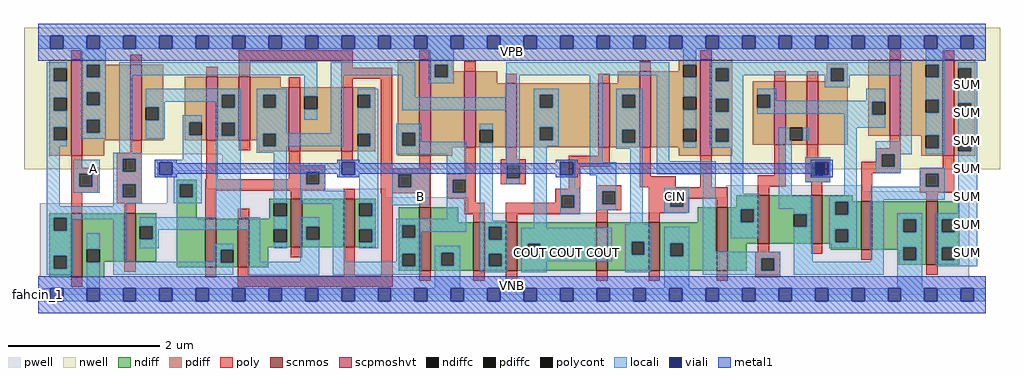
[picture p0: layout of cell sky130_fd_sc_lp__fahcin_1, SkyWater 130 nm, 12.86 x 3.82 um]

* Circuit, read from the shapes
.subckt sky130_fd_sc_lp__fahcin_1 A B CIN VGND VNB VPB VPWR COUT SUM
XM1 VGND A n1 VNB sky130_fd_pr__nfet_01v8 w=0.84 l=0.15
XM2 n2 n1 VGND VNB sky130_fd_pr__nfet_01v8 w=0.64 l=0.15
XM3 n1 n3 n4 VNB sky130_fd_pr__nfet_01v8 w=0.64 l=0.15
XM4 n5 B n1 VNB sky130_fd_pr__nfet_01v8 w=0.64 l=0.15
XM5 n2 n3 n5 VNB sky130_fd_pr__nfet_01v8 w=0.64 l=0.15
XM6 n4 B n2 VNB sky130_fd_pr__nfet_01v8 w=0.64 l=0.15
XM7 VGND B n3 VNB sky130_fd_pr__nfet_01v8 w=0.84 l=0.15
XM8 n6 n3 VGND VNB sky130_fd_pr__nfet_01v8 w=0.64 l=0.15
XM9 COUT n4 n6 VNB sky130_fd_pr__nfet_01v8 w=0.64 l=0.15
XM10 n7 n5 COUT VNB sky130_fd_pr__nfet_01v8 w=0.64 l=0.15
XM11 VGND CIN n7 VNB sky130_fd_pr__nfet_01v8 w=0.64 l=0.15
XM12 n8 CIN VGND VNB sky130_fd_pr__nfet_01v8 w=0.84 l=0.15
XM13 n9 n5 n8 VNB sky130_fd_pr__nfet_01v8 w=0.64 l=0.15
XM14 n10 n4 n9 VNB sky130_fd_pr__nfet_01v8 w=0.64 l=0.15
XM15 VGND n8 n10 VNB sky130_fd_pr__nfet_01v8 w=0.64 l=0.15
XM16 SUM n9 VGND VNB sky130_fd_pr__nfet_01v8 w=0.84 l=0.15
XM17 VPWR A n1 VPB sky130_fd_pr__pfet_01v8_hvt w=1.26 l=0.15
XM18 n2 n1 VPWR VPB sky130_fd_pr__pfet_01v8_hvt w=1 l=0.15
XM19 n2 n3 n4 VPB sky130_fd_pr__pfet_01v8_hvt w=0.84 l=0.15
XM20 n5 B n2 VPB sky130_fd_pr__pfet_01v8_hvt w=0.84 l=0.15
XM21 n1 n3 n5 VPB sky130_fd_pr__pfet_01v8_hvt w=0.84 l=0.15
XM22 n4 B n1 VPB sky130_fd_pr__pfet_01v8_hvt w=0.84 l=0.15
XM23 VPWR B n3 VPB sky130_fd_pr__pfet_01v8_hvt w=1.26 l=0.15
XM24 n6 n3 VPWR VPB sky130_fd_pr__pfet_01v8_hvt w=1 l=0.15
XM25 COUT n5 n6 VPB sky130_fd_pr__pfet_01v8_hvt w=0.84 l=0.15
XM26 n7 n4 COUT VPB sky130_fd_pr__pfet_01v8_hvt w=0.84 l=0.15
XM27 VPWR CIN n7 VPB sky130_fd_pr__pfet_01v8_hvt w=1 l=0.15
XM28 n8 CIN VPWR VPB sky130_fd_pr__pfet_01v8_hvt w=1.26 l=0.15
XM29 n9 n5 n10 VPB sky130_fd_pr__pfet_01v8_hvt w=0.84 l=0.15
XM30 n8 n4 n9 VPB sky130_fd_pr__pfet_01v8_hvt w=0.84 l=0.15
XM31 VPWR n8 n10 VPB sky130_fd_pr__pfet_01v8_hvt w=1 l=0.15
XM32 SUM n9 VPWR VPB sky130_fd_pr__pfet_01v8_hvt w=1.26 l=0.15
.ends

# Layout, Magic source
magic
tech sky130A
magscale 1 2
<< nwell >>
rect -38 371 2534 704
rect -38 331 231 371
rect 485 331 2534 371
<< pwell >>
rect 338 279 443 329
rect 338 257 915 279
rect 1813 273 2172 289
rect 1813 257 2453 273
rect 338 241 1133 257
rect 3 217 1133 241
rect 1711 217 2453 257
rect 3 49 2453 217
rect 0 0 2496 49
<< scnmos >>
rect 86 47 116 215
rect 226 87 256 215
rect 439 73 469 201
rect 525 73 555 201
rect 665 125 695 253
rect 804 125 834 253
rect 1004 63 1034 231
rect 1146 63 1176 191
rect 1232 63 1262 191
rect 1470 63 1500 191
rect 1608 63 1638 191
rect 1787 63 1817 231
rect 1896 135 1926 263
rect 2036 135 2066 263
rect 2168 119 2198 247
rect 2340 79 2370 247
<< scpmoshvt >>
rect 86 367 116 619
rect 242 407 272 607
rect 442 407 472 575
rect 528 407 558 575
rect 660 379 690 547
rect 798 379 828 547
rect 1004 367 1034 619
rect 1122 389 1152 589
rect 1231 389 1261 557
rect 1475 389 1505 557
rect 1584 389 1614 589
rect 1744 367 1774 619
rect 1939 395 1969 563
rect 2025 395 2055 563
rect 2243 419 2273 619
rect 2383 367 2413 619
<< ndiff >>
rect 364 291 417 303
rect 364 257 373 291
rect 407 257 417 291
rect 29 203 86 215
rect 29 169 41 203
rect 75 169 86 203
rect 29 103 86 169
rect 29 69 41 103
rect 75 69 86 103
rect 29 47 86 69
rect 116 120 226 215
rect 116 86 127 120
rect 161 87 226 120
rect 256 181 310 215
rect 256 147 267 181
rect 301 147 310 181
rect 256 87 310 147
rect 364 201 417 257
rect 608 241 665 253
rect 608 207 620 241
rect 654 207 665 241
rect 608 201 665 207
rect 161 86 173 87
rect 116 47 173 86
rect 364 73 439 201
rect 469 119 525 201
rect 469 85 480 119
rect 514 85 525 119
rect 469 73 525 85
rect 555 173 665 201
rect 555 139 620 173
rect 654 139 665 173
rect 555 125 665 139
rect 695 179 804 253
rect 695 145 706 179
rect 740 145 804 179
rect 695 125 804 145
rect 834 241 889 253
rect 834 207 846 241
rect 880 207 889 241
rect 834 173 889 207
rect 834 139 846 173
rect 880 139 889 173
rect 834 125 889 139
rect 555 73 605 125
rect 949 184 1004 231
rect 949 150 959 184
rect 993 150 1004 184
rect 949 109 1004 150
rect 949 75 959 109
rect 993 75 1004 109
rect 949 63 1004 75
rect 1034 191 1107 231
rect 1839 231 1896 263
rect 1737 191 1787 231
rect 1034 111 1146 191
rect 1034 77 1061 111
rect 1095 77 1146 111
rect 1034 63 1146 77
rect 1176 179 1232 191
rect 1176 145 1187 179
rect 1221 145 1232 179
rect 1176 109 1232 145
rect 1176 75 1187 109
rect 1221 75 1232 109
rect 1176 63 1232 75
rect 1262 135 1470 191
rect 1262 101 1289 135
rect 1323 101 1470 135
rect 1262 63 1470 101
rect 1500 140 1608 191
rect 1500 106 1563 140
rect 1597 106 1608 140
rect 1500 63 1608 106
rect 1638 136 1787 191
rect 1638 102 1665 136
rect 1699 102 1787 136
rect 1638 63 1787 102
rect 1817 225 1896 231
rect 1817 191 1851 225
rect 1885 191 1896 225
rect 1817 135 1896 191
rect 1926 213 2036 263
rect 1926 179 1991 213
rect 2025 179 2036 213
rect 1926 135 2036 179
rect 2066 247 2146 263
rect 2066 245 2168 247
rect 2066 211 2100 245
rect 2134 211 2168 245
rect 2066 173 2168 211
rect 2066 139 2100 173
rect 2134 139 2168 173
rect 2066 135 2168 139
rect 1817 63 1867 135
rect 2088 119 2168 135
rect 2198 199 2340 247
rect 2198 165 2279 199
rect 2313 165 2340 199
rect 2198 125 2340 165
rect 2198 119 2279 125
rect 2267 91 2279 119
rect 2313 91 2340 125
rect 2267 79 2340 91
rect 2370 199 2427 247
rect 2370 165 2381 199
rect 2415 165 2427 199
rect 2370 125 2427 165
rect 2370 91 2381 125
rect 2415 91 2427 125
rect 2370 79 2427 91
<< pdiff >>
rect 29 597 86 619
rect 29 563 41 597
rect 75 563 86 597
rect 29 519 86 563
rect 29 485 41 519
rect 75 485 86 519
rect 29 442 86 485
rect 29 408 41 442
rect 75 408 86 442
rect 29 367 86 408
rect 116 607 173 619
rect 116 573 127 607
rect 161 573 242 607
rect 116 534 242 573
rect 116 500 127 534
rect 161 500 242 534
rect 116 461 242 500
rect 116 427 127 461
rect 161 427 242 461
rect 116 407 242 427
rect 272 494 329 607
rect 272 460 283 494
rect 317 460 329 494
rect 272 407 329 460
rect 385 455 442 575
rect 385 421 397 455
rect 431 421 442 455
rect 385 407 442 421
rect 472 527 528 575
rect 472 493 483 527
rect 517 493 528 527
rect 472 453 528 493
rect 472 419 483 453
rect 517 419 528 453
rect 472 407 528 419
rect 558 547 638 575
rect 558 527 660 547
rect 558 493 592 527
rect 626 493 660 527
rect 558 425 660 493
rect 558 407 592 425
rect 116 367 173 407
rect 580 391 592 407
rect 626 391 660 425
rect 580 379 660 391
rect 690 523 798 547
rect 690 489 701 523
rect 735 489 798 523
rect 690 379 798 489
rect 828 527 887 547
rect 828 493 841 527
rect 875 493 887 527
rect 828 425 887 493
rect 828 391 841 425
rect 875 391 887 425
rect 828 379 887 391
rect 947 427 1004 619
rect 947 393 959 427
rect 993 393 1004 427
rect 947 367 1004 393
rect 1034 607 1091 619
rect 1034 573 1045 607
rect 1079 589 1091 607
rect 1687 607 1744 619
rect 1687 589 1699 607
rect 1079 573 1122 589
rect 1034 389 1122 573
rect 1152 557 1209 589
rect 1527 557 1584 589
rect 1152 435 1231 557
rect 1152 401 1163 435
rect 1197 401 1231 435
rect 1152 389 1231 401
rect 1261 527 1475 557
rect 1261 493 1321 527
rect 1355 493 1475 527
rect 1261 442 1475 493
rect 1261 408 1321 442
rect 1355 408 1475 442
rect 1261 389 1475 408
rect 1505 527 1584 557
rect 1505 493 1539 527
rect 1573 493 1584 527
rect 1505 435 1584 493
rect 1505 401 1539 435
rect 1573 401 1584 435
rect 1505 389 1584 401
rect 1614 573 1699 589
rect 1733 573 1744 607
rect 1614 522 1744 573
rect 1614 488 1699 522
rect 1733 488 1744 522
rect 1614 438 1744 488
rect 1614 404 1699 438
rect 1733 404 1744 438
rect 1614 389 1744 404
rect 1034 367 1091 389
rect 1687 367 1744 389
rect 1774 597 1829 619
rect 1774 563 1785 597
rect 1819 563 1829 597
rect 2077 597 2133 609
rect 2077 563 2088 597
rect 2122 563 2133 597
rect 1774 517 1829 563
rect 1774 483 1785 517
rect 1819 483 1829 517
rect 1774 438 1829 483
rect 1774 404 1785 438
rect 1819 404 1829 438
rect 1774 367 1829 404
rect 1883 527 1939 563
rect 1883 493 1894 527
rect 1928 493 1939 527
rect 1883 395 1939 493
rect 1969 441 2025 563
rect 1969 407 1980 441
rect 2014 407 2025 441
rect 1969 395 2025 407
rect 2055 395 2133 563
rect 2187 509 2243 619
rect 2187 475 2198 509
rect 2232 475 2243 509
rect 2187 419 2243 475
rect 2273 607 2383 619
rect 2273 573 2338 607
rect 2372 573 2383 607
rect 2273 514 2383 573
rect 2273 480 2338 514
rect 2372 480 2383 514
rect 2273 421 2383 480
rect 2273 419 2338 421
rect 2326 387 2338 419
rect 2372 387 2383 421
rect 2326 367 2383 387
rect 2413 597 2469 619
rect 2413 563 2424 597
rect 2458 563 2469 597
rect 2413 505 2469 563
rect 2413 471 2424 505
rect 2458 471 2469 505
rect 2413 413 2469 471
rect 2413 379 2424 413
rect 2458 379 2469 413
rect 2413 367 2469 379
<< ndiffc >>
rect 373 257 407 291
rect 41 169 75 203
rect 41 69 75 103
rect 127 86 161 120
rect 267 147 301 181
rect 620 207 654 241
rect 480 85 514 119
rect 620 139 654 173
rect 706 145 740 179
rect 846 207 880 241
rect 846 139 880 173
rect 959 150 993 184
rect 959 75 993 109
rect 1061 77 1095 111
rect 1187 145 1221 179
rect 1187 75 1221 109
rect 1289 101 1323 135
rect 1563 106 1597 140
rect 1665 102 1699 136
rect 1851 191 1885 225
rect 1991 179 2025 213
rect 2100 211 2134 245
rect 2100 139 2134 173
rect 2279 165 2313 199
rect 2279 91 2313 125
rect 2381 165 2415 199
rect 2381 91 2415 125
<< pdiffc >>
rect 41 563 75 597
rect 41 485 75 519
rect 41 408 75 442
rect 127 573 161 607
rect 127 500 161 534
rect 127 427 161 461
rect 283 460 317 494
rect 397 421 431 455
rect 483 493 517 527
rect 483 419 517 453
rect 592 493 626 527
rect 592 391 626 425
rect 701 489 735 523
rect 841 493 875 527
rect 841 391 875 425
rect 959 393 993 427
rect 1045 573 1079 607
rect 1163 401 1197 435
rect 1321 493 1355 527
rect 1321 408 1355 442
rect 1539 493 1573 527
rect 1539 401 1573 435
rect 1699 573 1733 607
rect 1699 488 1733 522
rect 1699 404 1733 438
rect 1785 563 1819 597
rect 2088 563 2122 597
rect 1785 483 1819 517
rect 1785 404 1819 438
rect 1894 493 1928 527
rect 1980 407 2014 441
rect 2198 475 2232 509
rect 2338 573 2372 607
rect 2338 480 2372 514
rect 2338 387 2372 421
rect 2424 563 2458 597
rect 2424 471 2458 505
rect 2424 379 2458 413
<< poly >>
rect 86 619 116 645
rect 242 607 272 633
rect 528 615 828 645
rect 1004 619 1034 645
rect 1744 619 1774 645
rect 2243 619 2273 645
rect 2383 619 2413 645
rect 442 575 472 601
rect 528 575 558 615
rect 798 599 828 615
rect 660 547 690 573
rect 798 569 932 599
rect 798 547 828 569
rect 242 375 272 407
rect 86 335 116 367
rect 206 359 272 375
rect 86 319 158 335
rect 86 285 108 319
rect 142 285 158 319
rect 86 269 158 285
rect 206 325 222 359
rect 256 325 272 359
rect 206 291 272 325
rect 442 305 472 407
rect 528 381 558 407
rect 660 341 690 379
rect 798 353 828 379
rect 660 325 756 341
rect 660 305 706 325
rect 86 215 116 269
rect 206 257 222 291
rect 256 257 272 291
rect 206 241 272 257
rect 226 215 256 241
rect 439 291 706 305
rect 740 291 756 325
rect 439 275 756 291
rect 902 334 932 569
rect 1122 589 1152 615
rect 1584 589 1614 615
rect 1231 557 1261 583
rect 1475 557 1505 583
rect 1004 334 1034 367
rect 902 318 1034 334
rect 1122 319 1152 389
rect 1231 357 1261 389
rect 1475 367 1505 389
rect 902 284 948 318
rect 982 284 1034 318
rect 439 201 469 275
rect 665 253 695 275
rect 804 253 834 279
rect 902 268 1034 284
rect 525 201 555 227
rect 226 61 256 87
rect 665 99 695 125
rect 439 47 469 73
rect 525 51 555 73
rect 804 51 834 125
rect 904 51 934 268
rect 1004 231 1034 268
rect 1076 303 1152 319
rect 1076 269 1092 303
rect 1126 269 1152 303
rect 1218 341 1284 357
rect 1218 307 1234 341
rect 1268 307 1284 341
rect 1218 291 1284 307
rect 1398 337 1505 367
rect 1398 279 1428 337
rect 1584 313 1614 389
rect 1939 563 1969 589
rect 2025 563 2055 589
rect 1076 253 1152 269
rect 1122 243 1152 253
rect 1362 263 1428 279
rect 1362 243 1378 263
rect 1122 213 1176 243
rect 1146 191 1176 213
rect 1232 229 1378 243
rect 1412 229 1428 263
rect 1232 213 1428 229
rect 1470 273 1536 289
rect 1584 283 1679 313
rect 1744 283 1774 367
rect 1939 315 1969 395
rect 2025 363 2055 395
rect 2243 387 2273 419
rect 2207 371 2273 387
rect 1896 285 1969 315
rect 2021 347 2087 363
rect 2207 351 2223 371
rect 2021 313 2037 347
rect 2071 313 2087 347
rect 2021 297 2087 313
rect 2168 337 2223 351
rect 2257 337 2273 371
rect 2168 321 2273 337
rect 2383 335 2413 367
rect 1470 239 1486 273
rect 1520 239 1536 273
rect 1470 223 1536 239
rect 1608 266 1817 283
rect 1608 232 1665 266
rect 1699 253 1817 266
rect 1896 263 1926 285
rect 2036 263 2066 297
rect 1699 232 1715 253
rect 1232 191 1262 213
rect 1470 191 1500 223
rect 1608 216 1715 232
rect 1787 231 1817 253
rect 1608 191 1638 216
rect 2168 247 2198 321
rect 2322 319 2413 335
rect 2322 285 2338 319
rect 2372 285 2413 319
rect 2322 269 2413 285
rect 2340 247 2370 269
rect 1896 113 1926 135
rect 1889 97 1955 113
rect 2036 109 2066 135
rect 1889 63 1905 97
rect 1939 63 1955 97
rect 2168 93 2198 119
rect 86 21 116 47
rect 525 21 934 51
rect 1004 37 1034 63
rect 1146 37 1176 63
rect 1232 37 1262 63
rect 1470 37 1500 63
rect 1608 37 1638 63
rect 1787 37 1817 63
rect 1889 47 1955 63
rect 2340 53 2370 79
<< polycont >>
rect 108 285 142 319
rect 222 325 256 359
rect 222 257 256 291
rect 706 291 740 325
rect 948 284 982 318
rect 1092 269 1126 303
rect 1234 307 1268 341
rect 1378 229 1412 263
rect 2037 313 2071 347
rect 2223 337 2257 371
rect 1486 239 1520 273
rect 1665 232 1699 266
rect 2338 285 2372 319
rect 1905 63 1939 97
<< locali >>
rect 0 649 31 683
rect 65 649 127 683
rect 161 649 223 683
rect 257 649 319 683
rect 353 649 415 683
rect 449 649 511 683
rect 545 649 607 683
rect 641 649 703 683
rect 737 649 799 683
rect 833 649 895 683
rect 929 649 991 683
rect 1025 649 1087 683
rect 1121 649 1183 683
rect 1217 649 1279 683
rect 1313 649 1375 683
rect 1409 649 1471 683
rect 1505 649 1567 683
rect 1601 649 1663 683
rect 1697 649 1759 683
rect 1793 649 1855 683
rect 1889 649 1951 683
rect 1985 649 2047 683
rect 2081 649 2143 683
rect 2177 649 2239 683
rect 2273 649 2335 683
rect 2369 649 2431 683
rect 2465 649 2496 683
rect 22 597 75 613
rect 22 563 41 597
rect 22 519 75 563
rect 22 485 41 519
rect 22 442 75 485
rect 22 408 41 442
rect 111 607 177 649
rect 111 573 127 607
rect 161 573 177 607
rect 111 534 177 573
rect 111 500 127 534
rect 161 500 177 534
rect 111 461 177 500
rect 111 427 127 461
rect 161 427 177 461
rect 111 411 177 427
rect 213 579 735 613
rect 22 392 75 408
rect 22 233 56 392
rect 213 375 247 579
rect 283 527 533 543
rect 283 509 483 527
rect 283 494 333 509
rect 317 460 333 494
rect 467 493 483 509
rect 517 493 533 527
rect 283 411 333 460
rect 381 455 431 473
rect 381 421 397 455
rect 197 359 272 375
rect 92 319 161 356
rect 92 285 108 319
rect 142 285 161 319
rect 92 269 161 285
rect 197 325 222 359
rect 256 325 272 359
rect 381 356 431 421
rect 197 291 272 325
rect 313 350 431 356
rect 313 316 319 350
rect 353 316 431 350
rect 313 310 431 316
rect 197 257 222 291
rect 256 257 272 291
rect 197 241 272 257
rect 357 291 431 310
rect 357 257 373 291
rect 407 257 431 291
rect 357 241 431 257
rect 467 453 533 493
rect 467 419 483 453
rect 517 419 533 453
rect 197 233 231 241
rect 22 203 231 233
rect 467 205 533 419
rect 576 527 654 543
rect 576 493 592 527
rect 626 493 654 527
rect 576 426 654 493
rect 701 523 735 579
rect 701 462 735 489
rect 771 579 993 613
rect 771 426 805 579
rect 576 425 805 426
rect 576 391 592 425
rect 626 392 805 425
rect 841 527 896 543
rect 875 493 896 527
rect 841 425 896 493
rect 959 521 993 579
rect 1029 607 1095 649
rect 1029 573 1045 607
rect 1079 573 1095 607
rect 1029 557 1095 573
rect 1233 579 1663 613
rect 1233 521 1269 579
rect 959 487 1269 521
rect 626 391 654 392
rect 576 375 654 391
rect 620 241 654 375
rect 875 391 896 425
rect 841 356 896 391
rect 943 427 1009 451
rect 943 393 959 427
rect 993 404 1009 427
rect 1163 435 1197 451
rect 993 393 1127 404
rect 943 370 1127 393
rect 793 350 896 356
rect 690 325 756 341
rect 690 291 706 325
rect 740 291 756 325
rect 793 316 799 350
rect 833 316 896 350
rect 793 310 896 316
rect 690 274 756 291
rect 690 240 810 274
rect 22 169 41 203
rect 75 199 231 203
rect 75 169 91 199
rect 22 103 91 169
rect 22 69 41 103
rect 75 69 91 103
rect 22 53 91 69
rect 127 120 161 163
rect 127 17 161 86
rect 197 87 231 199
rect 267 181 584 205
rect 301 171 584 181
rect 301 147 317 171
rect 267 123 317 147
rect 464 119 514 135
rect 464 87 480 119
rect 197 85 480 87
rect 197 53 514 85
rect 550 87 584 171
rect 620 173 654 207
rect 620 123 654 139
rect 690 179 740 204
rect 690 145 706 179
rect 690 87 740 145
rect 550 53 740 87
rect 776 87 810 240
rect 846 241 896 310
rect 880 207 896 241
rect 932 318 1031 334
rect 932 284 948 318
rect 982 284 1031 318
rect 932 236 1031 284
rect 1076 303 1127 370
rect 1076 269 1092 303
rect 1126 269 1127 303
rect 846 173 896 207
rect 1076 200 1127 269
rect 880 139 896 173
rect 846 123 896 139
rect 943 184 1127 200
rect 943 150 959 184
rect 993 166 1127 184
rect 1163 195 1197 401
rect 1233 341 1269 487
rect 1233 307 1234 341
rect 1268 307 1269 341
rect 1233 291 1269 307
rect 1305 527 1371 543
rect 1305 493 1321 527
rect 1355 493 1371 527
rect 1305 442 1371 493
rect 1305 408 1321 442
rect 1355 408 1371 442
rect 1305 392 1371 408
rect 1163 179 1237 195
rect 993 150 1009 166
rect 943 109 1009 150
rect 1163 145 1187 179
rect 1221 145 1237 179
rect 1305 177 1339 392
rect 1375 350 1415 356
rect 1409 316 1415 350
rect 1375 279 1415 316
rect 1453 349 1487 579
rect 1523 527 1593 543
rect 1523 493 1539 527
rect 1573 493 1593 527
rect 1523 435 1593 493
rect 1523 401 1539 435
rect 1573 401 1593 435
rect 1523 385 1593 401
rect 1453 315 1523 349
rect 1375 263 1428 279
rect 1375 229 1378 263
rect 1412 229 1428 263
rect 1375 213 1428 229
rect 1470 273 1523 315
rect 1470 239 1486 273
rect 1520 239 1523 273
rect 1470 223 1523 239
rect 1559 187 1593 385
rect 1629 352 1663 579
rect 1699 607 1733 649
rect 1699 522 1733 573
rect 1699 438 1733 488
rect 1699 388 1733 404
rect 1769 597 2302 613
rect 1769 563 1785 597
rect 1819 579 2088 597
rect 1819 563 1858 579
rect 1769 517 1858 563
rect 2072 563 2088 579
rect 2122 579 2302 597
rect 2122 563 2138 579
rect 2072 547 2138 563
rect 1769 483 1785 517
rect 1819 483 1858 517
rect 1769 438 1858 483
rect 1894 527 1944 543
rect 1928 511 1944 527
rect 2182 511 2232 543
rect 1928 509 2232 511
rect 1928 493 2198 509
rect 1894 477 2198 493
rect 2123 475 2198 477
rect 2123 441 2232 475
rect 1769 404 1785 438
rect 1819 404 1858 438
rect 1769 388 1858 404
rect 1629 318 1785 352
rect 1649 266 1715 282
rect 1649 232 1665 266
rect 1699 232 1715 266
rect 1649 216 1715 232
rect 943 87 959 109
rect 776 75 959 87
rect 993 75 1009 109
rect 776 53 1009 75
rect 1045 111 1111 130
rect 1045 77 1061 111
rect 1095 77 1111 111
rect 1045 17 1111 77
rect 1163 109 1237 145
rect 1163 75 1187 109
rect 1221 75 1237 109
rect 1163 59 1237 75
rect 1273 135 1511 177
rect 1273 101 1289 135
rect 1323 101 1511 135
rect 1273 88 1511 101
rect 1547 140 1613 187
rect 1547 106 1563 140
rect 1597 106 1613 140
rect 1273 59 1339 88
rect 1547 59 1613 106
rect 1649 136 1715 180
rect 1649 102 1665 136
rect 1699 102 1715 136
rect 1649 17 1715 102
rect 1751 113 1785 318
rect 1824 267 1858 388
rect 1951 407 1980 441
rect 2014 407 2030 441
rect 1824 225 1901 267
rect 1951 261 1985 407
rect 2021 350 2087 363
rect 2021 347 2047 350
rect 2021 313 2037 347
rect 2081 316 2087 350
rect 2071 313 2087 316
rect 2021 297 2087 313
rect 2123 261 2157 441
rect 2268 405 2302 579
rect 2207 371 2302 405
rect 2338 607 2388 649
rect 2372 573 2388 607
rect 2338 514 2388 573
rect 2372 480 2388 514
rect 2338 421 2388 480
rect 2372 387 2388 421
rect 2338 371 2388 387
rect 2424 597 2474 613
rect 2458 563 2474 597
rect 2424 505 2474 563
rect 2458 471 2474 505
rect 2424 413 2474 471
rect 2458 379 2474 413
rect 2207 337 2223 371
rect 2257 337 2273 371
rect 2207 321 2273 337
rect 2322 319 2388 335
rect 2322 285 2338 319
rect 2372 285 2388 319
rect 1951 227 2041 261
rect 1824 191 1851 225
rect 1885 191 1901 225
rect 1824 149 1901 191
rect 1991 213 2041 227
rect 2025 179 2041 213
rect 1751 97 1955 113
rect 1751 63 1905 97
rect 1939 63 1955 97
rect 1751 53 1955 63
rect 1991 87 2041 179
rect 2084 245 2157 261
rect 2084 211 2100 245
rect 2134 211 2157 245
rect 2084 173 2157 211
rect 2084 139 2100 173
rect 2134 139 2157 173
rect 2084 123 2157 139
rect 2193 251 2388 285
rect 2193 87 2227 251
rect 2424 215 2474 379
rect 1991 53 2227 87
rect 2263 199 2329 215
rect 2263 165 2279 199
rect 2313 165 2329 199
rect 2263 125 2329 165
rect 2263 91 2279 125
rect 2313 91 2329 125
rect 2263 17 2329 91
rect 2365 199 2474 215
rect 2365 165 2381 199
rect 2415 165 2474 199
rect 2365 125 2474 165
rect 2365 91 2381 125
rect 2415 91 2474 125
rect 2365 75 2474 91
rect 0 -17 31 17
rect 65 -17 127 17
rect 161 -17 223 17
rect 257 -17 319 17
rect 353 -17 415 17
rect 449 -17 511 17
rect 545 -17 607 17
rect 641 -17 703 17
rect 737 -17 799 17
rect 833 -17 895 17
rect 929 -17 991 17
rect 1025 -17 1087 17
rect 1121 -17 1183 17
rect 1217 -17 1279 17
rect 1313 -17 1375 17
rect 1409 -17 1471 17
rect 1505 -17 1567 17
rect 1601 -17 1663 17
rect 1697 -17 1759 17
rect 1793 -17 1855 17
rect 1889 -17 1951 17
rect 1985 -17 2047 17
rect 2081 -17 2143 17
rect 2177 -17 2239 17
rect 2273 -17 2335 17
rect 2369 -17 2431 17
rect 2465 -17 2496 17
<< viali >>
rect 31 649 65 683
rect 127 649 161 683
rect 223 649 257 683
rect 319 649 353 683
rect 415 649 449 683
rect 511 649 545 683
rect 607 649 641 683
rect 703 649 737 683
rect 799 649 833 683
rect 895 649 929 683
rect 991 649 1025 683
rect 1087 649 1121 683
rect 1183 649 1217 683
rect 1279 649 1313 683
rect 1375 649 1409 683
rect 1471 649 1505 683
rect 1567 649 1601 683
rect 1663 649 1697 683
rect 1759 649 1793 683
rect 1855 649 1889 683
rect 1951 649 1985 683
rect 2047 649 2081 683
rect 2143 649 2177 683
rect 2239 649 2273 683
rect 2335 649 2369 683
rect 2431 649 2465 683
rect 319 316 353 350
rect 799 316 833 350
rect 1375 316 1409 350
rect 2047 347 2081 350
rect 2047 316 2071 347
rect 2071 316 2081 347
rect 31 -17 65 17
rect 127 -17 161 17
rect 223 -17 257 17
rect 319 -17 353 17
rect 415 -17 449 17
rect 511 -17 545 17
rect 607 -17 641 17
rect 703 -17 737 17
rect 799 -17 833 17
rect 895 -17 929 17
rect 991 -17 1025 17
rect 1087 -17 1121 17
rect 1183 -17 1217 17
rect 1279 -17 1313 17
rect 1375 -17 1409 17
rect 1471 -17 1505 17
rect 1567 -17 1601 17
rect 1663 -17 1697 17
rect 1759 -17 1793 17
rect 1855 -17 1889 17
rect 1951 -17 1985 17
rect 2047 -17 2081 17
rect 2143 -17 2177 17
rect 2239 -17 2273 17
rect 2335 -17 2369 17
rect 2431 -17 2465 17
<< metal1 >>
rect 0 683 2496 715
rect 0 649 31 683
rect 65 649 127 683
rect 161 649 223 683
rect 257 649 319 683
rect 353 649 415 683
rect 449 649 511 683
rect 545 649 607 683
rect 641 649 703 683
rect 737 649 799 683
rect 833 649 895 683
rect 929 649 991 683
rect 1025 649 1087 683
rect 1121 649 1183 683
rect 1217 649 1279 683
rect 1313 649 1375 683
rect 1409 649 1471 683
rect 1505 649 1567 683
rect 1601 649 1663 683
rect 1697 649 1759 683
rect 1793 649 1855 683
rect 1889 649 1951 683
rect 1985 649 2047 683
rect 2081 649 2143 683
rect 2177 649 2239 683
rect 2273 649 2335 683
rect 2369 649 2431 683
rect 2465 649 2496 683
rect 0 617 2496 649
rect 307 350 365 356
rect 307 316 319 350
rect 353 347 365 350
rect 787 350 845 356
rect 787 347 799 350
rect 353 319 799 347
rect 353 316 365 319
rect 307 310 365 316
rect 787 316 799 319
rect 833 347 845 350
rect 1363 350 1421 356
rect 1363 347 1375 350
rect 833 319 1375 347
rect 833 316 845 319
rect 787 310 845 316
rect 1363 316 1375 319
rect 1409 347 1421 350
rect 2035 350 2093 356
rect 2035 347 2047 350
rect 1409 319 2047 347
rect 1409 316 1421 319
rect 1363 310 1421 316
rect 2035 316 2047 319
rect 2081 316 2093 350
rect 2035 310 2093 316
rect 0 17 2496 49
rect 0 -17 31 17
rect 65 -17 127 17
rect 161 -17 223 17
rect 257 -17 319 17
rect 353 -17 415 17
rect 449 -17 511 17
rect 545 -17 607 17
rect 641 -17 703 17
rect 737 -17 799 17
rect 833 -17 895 17
rect 929 -17 991 17
rect 1025 -17 1087 17
rect 1121 -17 1183 17
rect 1217 -17 1279 17
rect 1313 -17 1375 17
rect 1409 -17 1471 17
rect 1505 -17 1567 17
rect 1601 -17 1663 17
rect 1697 -17 1759 17
rect 1793 -17 1855 17
rect 1889 -17 1951 17
rect 1985 -17 2047 17
rect 2081 -17 2143 17
rect 2177 -17 2239 17
rect 2273 -17 2335 17
rect 2369 -17 2431 17
rect 2465 -17 2496 17
rect 0 -49 2496 -17
<< labels >>
flabel pwell s 0 0 2496 49 0 FreeSans 200 0 0 0 VNB
port 5 nsew ground bidirectional
flabel nwell s 0 617 2496 666 0 FreeSans 200 0 0 0 VPB
port 6 nsew power bidirectional
rlabel comment s 0 0 0 0 4 fahcin_1
flabel metal1 s 0 617 2496 666 0 FreeSans 340 0 0 0 VPWR
port 7 nsew power bidirectional
flabel metal1 s 0 0 2496 49 0 FreeSans 340 0 0 0 VGND
port 4 nsew ground bidirectional
flabel locali s 2431 94 2465 128 0 FreeSans 340 0 0 0 SUM
port 9 nsew signal output
flabel locali s 2431 168 2465 202 0 FreeSans 340 0 0 0 SUM
port 9 nsew signal output
flabel locali s 2431 242 2465 276 0 FreeSans 340 0 0 0 SUM
port 9 nsew signal output
flabel locali s 2431 316 2465 350 0 FreeSans 340 0 0 0 SUM
port 9 nsew signal output
flabel locali s 2431 390 2465 424 0 FreeSans 340 0 0 0 SUM
port 9 nsew signal output
flabel locali s 2431 464 2465 498 0 FreeSans 340 0 0 0 SUM
port 9 nsew signal output
flabel locali s 2431 538 2465 572 0 FreeSans 340 0 0 0 SUM
port 9 nsew signal output
flabel locali s 1663 242 1697 276 0 FreeSans 340 0 0 0 CIN
port 3 nsew signal input
flabel locali s 127 316 161 350 0 FreeSans 340 0 0 0 A
port 1 nsew signal input
flabel locali s 991 242 1025 276 0 FreeSans 340 0 0 0 B
port 2 nsew signal input
flabel locali s 1279 94 1313 128 0 FreeSans 340 0 0 0 COUT
port 8 nsew signal output
flabel locali s 1375 94 1409 128 0 FreeSans 340 0 0 0 COUT
port 8 nsew signal output
flabel locali s 1471 94 1505 128 0 FreeSans 340 0 0 0 COUT
port 8 nsew signal output
<< properties >>
string LEFsite unit
string LEFclass CORE
string FIXED_BBOX 0 0 2496 666
string GDS_FILE $PDKPATH/libs.ref/sky130_fd_sc_lp/gds/sky130_fd_sc_lp.gds
string LEFsymmetry X Y R90
string GDS_END 5747574
string GDS_START 5729436
<< end >>
